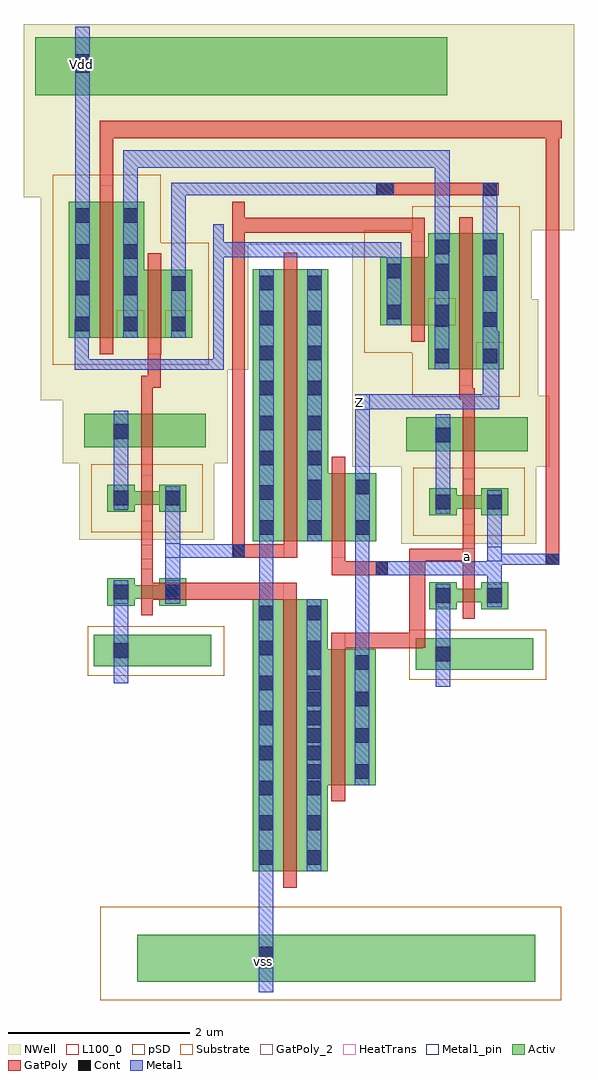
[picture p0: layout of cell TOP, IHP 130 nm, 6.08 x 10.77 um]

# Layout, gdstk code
import gdstk
lib = gdstk.Library(unit=1e-6, precision=5e-09)
def R(c, l, rs):  # rectangles x0, y0, x1, y1
    for r in rs: c.add(gdstk.rectangle(r[:2], r[2:], *l))
def A(c, l, x, y, w, h, nx, ny, dx, dy):  # array of equal rectangles
    R(c, l, [(x+i*dx, y+j*dy, x+i*dx+w, y+j*dy+h) for i in range(nx) for j in range(ny)])
def P(c, l, *ps):  # polygons
    for p in ps: c.add(gdstk.Polygon(p, *l))
Activ = (1, 0)
GatPoly = (5, 0)
GatPoly_2 = (5, 2)
Cont = (6, 0)
Metal1 = (8, 0)
Metal1_pin = (8, 2)
pSD = (14, 0)
NWell = (31, 0)
Substrate = (40, 0)
HeatTrans = (51, 0)
L100_0 = (100, 0)

nmos_1 = lib.new_cell('nmos$1')
R(nmos_1, Activ, [(0,0,0.3,0.3), (0,0,0.83,0.75), (0.53,0,0.83,0.3)])
R(nmos_1, GatPoly, [(0.34,-0.18,0.49,0.93)])
R(nmos_1, GatPoly_2, [(0.34,-0.18,0.49,0.93)])
R(nmos_1, Cont, [(0.07,0.07,0.23,0.23), (0.6,0.07,0.76,0.23), (0.07,0.52,0.23,0.68), (0.6,0.52,0.76,0.68)])
R(nmos_1, Metal1, [(0.07,0,0.23,0.75), (0.6,0,0.76,0.75)])
R(nmos_1, Metal1_pin, [(0.07,0,0.23,0.75), (0.6,0,0.76,0.75)])
R(nmos_1, HeatTrans, [(0.34,-0.18,0.49,0.93)])
nmos_1.add(gdstk.Label('nmos', (0.415,0.375), layer=63, texttype=0))
nmos_1.add(gdstk.Label('nmos', (0.415,0.375), layer=51, texttype=0))

nmos_2 = lib.new_cell('nmos$2')
R(nmos_2, Activ, [(0,0,0.3,0.3), (0,0,0.83,1.5), (0.53,0,0.83,0.3)])
R(nmos_2, GatPoly, [(0.34,-0.18,0.49,1.68)])
R(nmos_2, GatPoly_2, [(0.34,-0.18,0.49,1.68)])
A(nmos_2, Cont, 0.07, 0.07, 0.16, 0.16, 1, 4, 0, 0.4)
A(nmos_2, Cont, 0.6, 0.07, 0.16, 0.16, 1, 4, 0, 0.4)
R(nmos_2, Metal1, [(0.07,0,0.23,1.5), (0.6,0,0.76,1.5)])
R(nmos_2, Metal1_pin, [(0.07,0,0.23,1.5), (0.6,0,0.76,1.5)])
R(nmos_2, HeatTrans, [(0.34,-0.18,0.49,1.68)])
nmos_2.add(gdstk.Label('nmos', (0.415,0.75), layer=63, texttype=0))
nmos_2.add(gdstk.Label('nmos', (0.415,0.75), layer=51, texttype=0))

pmos = lib.new_cell('pmos')
R(pmos, Activ, [(0,0,0.3,0.3), (0.57,0,0.87,0.3), (0,0.075,0.87,0.225)])
R(pmos, GatPoly, [(0.37,-0.105,0.5,0.405), (0.37,-0.105,0.5,0.405)])
R(pmos, Cont, [(0.07,0.07,0.23,0.23), (0.64,0.07,0.8,0.23)])
R(pmos, Metal1, [(0.07,0.02,0.23,0.28), (0.07,0.02,0.23,0.28), (0.64,0.02,0.8,0.28), (0.64,0.02,0.8,0.28)])
R(pmos, pSD, [(-0.18,-0.225,1.05,0.525)])
R(pmos, NWell, [(-0.31,-0.31,1.18,0.61)])
R(pmos, Substrate, [(0.57,0,0.87,0.3)])
R(pmos, HeatTrans, [(0.37,-0.105,0.5,0.405)])
pmos.add(gdstk.Label('pmos', (0.435,0.15), layer=63, texttype=0))
pmos.add(gdstk.Label('pmos', (0.435,0.15), layer=51, texttype=0))

nmos = lib.new_cell('nmos')
R(nmos, Activ, [(0,0,0.3,0.3), (0.57,0,0.87,0.3), (0,0.075,0.87,0.225)])
R(nmos, GatPoly, [(0.37,-0.105,0.5,0.405)])
R(nmos, GatPoly_2, [(0.37,-0.105,0.5,0.405)])
R(nmos, Cont, [(0.07,0.07,0.23,0.23), (0.64,0.07,0.8,0.23)])
R(nmos, Metal1, [(0.07,0.02,0.23,0.28), (0.64,0.02,0.8,0.28)])
R(nmos, Metal1_pin, [(0.07,0.02,0.23,0.28), (0.64,0.02,0.8,0.28)])
R(nmos, HeatTrans, [(0.37,-0.105,0.5,0.405)])
nmos.add(gdstk.Label('nmos', (0.435,0.15), layer=63, texttype=0))
nmos.add(gdstk.Label('nmos', (0.435,0.15), layer=51, texttype=0))

inv_bel = lib.new_cell('inv_bel')
R(inv_bel, Activ, [(0.16,0.06,1.455,0.41), (0.055,2.475,1.395,2.845)])
P(inv_bel, Activ, [(1.385,0.4),(1.385,0.4),(1.39,0.4),(1.39,0.4)])
R(inv_bel, GatPoly, [(0.68,1.135,0.81,1.66)])
R(inv_bel, GatPoly_2, [(0.68,1.24,0.81,1.4)])
R(inv_bel, Cont, [(0.38,0.155,0.54,0.315), (0.38,2.57,0.54,2.73)])
R(inv_bel, Metal1, [(0.38,-0.125,0.54,0.775), (0.95,1.01,1.11,1.785), (0.38,2.045,0.54,2.805), (0.38,2.805,0.54,2.88)])
R(inv_bel, Metal1_pin, [(0.38,0.155,0.54,0.315), (0.95,1.26,1.11,1.42), (0.375,2.565,0.545,2.735)])
R(inv_bel, pSD, [(0.09,-0.045,1.6,0.505)])
R(inv_bel, NWell, [(-0.185,2.3,1.635,3.085)])
R(inv_bel, L100_0, [(0.375,0.15,0.545,0.32), (0.375,0.15,0.545,0.32), (0.375,0.795,0.545,0.965), (0.375,0.795,0.545,0.965), (0.945,0.795,1.115,0.965), (0.945,0.795,1.115,0.965), (0.375,1.83,0.545,2), (0.375,1.83,0.545,2), (0.945,1.83,1.115,2), (0.945,1.83,1.115,2), (0.375,2.565,0.545,2.735), (0.375,2.565,0.545,2.735)])
inv_bel.add(gdstk.Reference(pmos, (0.31,1.765)))
inv_bel.add(gdstk.Reference(nmos, (0.31,0.73)))
inv_bel.add(gdstk.Label('ab', (1.03,1.34), layer=8, texttype=2))
inv_bel.add(gdstk.Label('Vdd', (0.445,2.65), layer=8, texttype=2))
inv_bel.add(gdstk.Label('vss', (0.435,0.205), layer=8, texttype=2))
inv_bel.add(gdstk.Label('a', (0.73,1.305), layer=5, texttype=2))

inversor = lib.new_cell('inversor')
inversor.add(gdstk.Reference(inv_bel, (1.685,-0.595)))

pmos_2 = lib.new_cell('pmos$2')
R(pmos_2, Activ, [(0,0,0.3,0.3), (0,0,0.83,0.75), (0.53,0,0.83,0.3)])
R(pmos_2, GatPoly, [(0.34,-0.18,0.49,0.93), (0.34,-0.18,0.49,0.93)])
R(pmos_2, Cont, [(0.07,0.07,0.23,0.23), (0.6,0.07,0.76,0.23), (0.07,0.52,0.23,0.68), (0.6,0.52,0.76,0.68)])
R(pmos_2, Metal1, [(0.07,0,0.23,0.75), (0.07,0,0.23,0.75), (0.6,0,0.76,0.75), (0.6,0,0.76,0.75)])
R(pmos_2, pSD, [(-0.18,-0.3,1.01,1.05)])
R(pmos_2, NWell, [(-0.31,-0.31,1.14,1.06)])
R(pmos_2, Substrate, [(0.53,0,0.83,0.3)])
R(pmos_2, HeatTrans, [(0.34,-0.18,0.49,0.93)])
pmos_2.add(gdstk.Label('pmos', (0.415,0.375), layer=63, texttype=0))
pmos_2.add(gdstk.Label('pmos', (0.415,0.375), layer=51, texttype=0))

pmos_4 = lib.new_cell('pmos$4')
R(pmos_4, Activ, [(0,0,0.3,0.3), (0,0,0.83,1.5), (0.53,0,0.83,0.3)])
R(pmos_4, GatPoly, [(0.34,-0.18,0.49,1.68), (0.34,-0.18,0.49,1.68)])
A(pmos_4, Cont, 0.07, 0.07, 0.16, 0.16, 1, 4, 0, 0.4)
A(pmos_4, Cont, 0.6, 0.07, 0.16, 0.16, 1, 4, 0, 0.4)
R(pmos_4, Metal1, [(0.07,0,0.23,1.5), (0.07,0,0.23,1.5), (0.6,0,0.76,1.5), (0.6,0,0.76,1.5)])
R(pmos_4, pSD, [(-0.18,-0.3,1.01,1.8)])
R(pmos_4, NWell, [(-0.31,-0.31,1.14,1.81)])
R(pmos_4, Substrate, [(0.53,0,0.83,0.3)])
R(pmos_4, HeatTrans, [(0.34,-0.18,0.49,1.68)])
pmos_4.add(gdstk.Label('pmos', (0.415,0.75), layer=63, texttype=0))
pmos_4.add(gdstk.Label('pmos', (0.415,0.75), layer=51, texttype=0))

pmos_5 = lib.new_cell('pmos$5')
R(pmos_5, Activ, [(0,0,0.3,0.3), (0.57,0,0.87,0.3), (0,0.075,0.87,0.225)])
R(pmos_5, GatPoly, [(0.37,-0.105,0.5,0.405), (0.37,-0.105,0.5,0.405)])
R(pmos_5, Cont, [(0.07,0.07,0.23,0.23), (0.64,0.07,0.8,0.23)])
R(pmos_5, Metal1, [(0.07,0.02,0.23,0.28), (0.07,0.02,0.23,0.28), (0.64,0.02,0.8,0.28), (0.64,0.02,0.8,0.28)])
R(pmos_5, pSD, [(-0.18,-0.225,1.05,0.525)])
R(pmos_5, NWell, [(-0.31,-0.31,1.18,0.61)])
R(pmos_5, Substrate, [(0.57,0,0.87,0.3)])
R(pmos_5, HeatTrans, [(0.37,-0.105,0.5,0.405)])
pmos_5.add(gdstk.Label('pmos', (0.435,0.15), layer=63, texttype=0))
pmos_5.add(gdstk.Label('pmos', (0.435,0.15), layer=51, texttype=0))

nmos_4 = lib.new_cell('nmos$4')
R(nmos_4, Activ, [(0,0,0.3,0.3), (0.57,0,0.87,0.3), (0,0.075,0.87,0.225)])
R(nmos_4, GatPoly, [(0.37,-0.105,0.5,0.405)])
R(nmos_4, GatPoly_2, [(0.37,-0.105,0.5,0.405)])
R(nmos_4, Cont, [(0.07,0.07,0.23,0.23), (0.64,0.07,0.8,0.23)])
R(nmos_4, Metal1, [(0.07,0.02,0.23,0.28), (0.64,0.02,0.8,0.28)])
R(nmos_4, Metal1_pin, [(0.07,0.02,0.23,0.28), (0.64,0.02,0.8,0.28)])
R(nmos_4, HeatTrans, [(0.37,-0.105,0.5,0.405)])
nmos_4.add(gdstk.Label('nmos', (0.435,0.15), layer=63, texttype=0))
nmos_4.add(gdstk.Label('nmos', (0.435,0.15), layer=51, texttype=0))

inv_bel_1 = lib.new_cell('inv_bel$1')
R(inv_bel_1, Activ, [(0.16,0.06,1.455,0.41), (0.055,2.475,1.395,2.845)])
P(inv_bel_1, Activ, [(1.385,0.4),(1.385,0.4),(1.39,0.4),(1.39,0.4)])
R(inv_bel_1, GatPoly, [(0.68,1.135,0.81,1.66)])
R(inv_bel_1, GatPoly_2, [(0.68,1.24,0.81,1.4)])
R(inv_bel_1, Cont, [(0.38,0.155,0.54,0.315), (0.38,2.57,0.54,2.73)])
R(inv_bel_1, Metal1, [(0.38,-0.125,0.54,0.775), (0.95,1.01,1.11,1.785), (0.38,2.045,0.54,2.805), (0.38,2.805,0.54,2.88)])
R(inv_bel_1, Metal1_pin, [(0.38,0.155,0.54,0.315), (0.95,1.26,1.11,1.42), (0.38,2.565,0.545,2.73)])
R(inv_bel_1, pSD, [(0.09,-0.045,1.6,0.505)])
R(inv_bel_1, NWell, [(-0.185,2.3,1.635,3.085)])
R(inv_bel_1, L100_0, [(0.375,0.15,0.545,0.32), (0.375,0.15,0.545,0.32), (0.375,0.795,0.545,0.965), (0.375,0.795,0.545,0.965), (0.945,0.795,1.115,0.965), (0.945,0.795,1.115,0.965), (0.375,1.83,0.545,2), (0.375,1.83,0.545,2), (0.945,1.83,1.115,2), (0.945,1.83,1.115,2), (0.375,2.565,0.545,2.735), (0.375,2.565,0.545,2.735)])
inv_bel_1.add(gdstk.Reference(pmos_5, (0.31,1.765)))
inv_bel_1.add(gdstk.Reference(nmos_4, (0.31,0.73)))
inv_bel_1.add(gdstk.Label('bb', (1,1.315), layer=8, texttype=2))
inv_bel_1.add(gdstk.Label('Vdd', (0.445,2.645), layer=8, texttype=2))
inv_bel_1.add(gdstk.Label('vss', (0.435,0.205), layer=8, texttype=2))
inv_bel_1.add(gdstk.Label('b', (0.735,1.315), layer=5, texttype=2))

inversor_1 = lib.new_cell('inversor$1')
inversor_1.add(gdstk.Reference(inv_bel_1, (1.685,-0.595)))

nmos_3 = lib.new_cell('nmos$3')
R(nmos_3, Activ, [(0,0,0.3,0.3), (0,0,0.83,3), (0.53,0,0.83,0.3)])
R(nmos_3, GatPoly, [(0.34,-0.18,0.49,3.18)])
R(nmos_3, GatPoly_2, [(0.34,-0.18,0.49,3.18)])
A(nmos_3, Cont, 0.07, 0.07, 0.16, 0.16, 1, 7, 0, 0.385)
A(nmos_3, Cont, 0.6, 0.07, 0.16, 0.16, 1, 7, 0, 0.385)
R(nmos_3, Cont, [(0.07,2.77,0.23,2.93), (0.6,2.77,0.76,2.93)])
R(nmos_3, Metal1, [(0.07,0,0.23,3), (0.6,0,0.76,3)])
R(nmos_3, Metal1_pin, [(0.07,0,0.23,3), (0.6,0,0.76,3)])
R(nmos_3, HeatTrans, [(0.34,-0.18,0.49,3.18)])
nmos_3.add(gdstk.Label('nmos', (0.415,1.5), layer=63, texttype=0))
nmos_3.add(gdstk.Label('nmos', (0.415,1.5), layer=51, texttype=0))

top = lib.new_cell('TOP')
R(top, Activ, [(1.255,-0.975,5.645,-0.455), (0.13,8.805,4.675,9.445)])
R(top, GatPoly, [(3.395,2.705,4.255,2.875), (4.255,2.705,4.405,2.875), (4.255,2.71,4.43,3.8), (1.295,3.24,3.015,3.425), (3.4,3.51,3.55,3.835), (3.405,3.51,4.015,3.665), (5.76,3.625,5.91,8.525), (4.295,3.67,4.975,3.8), (2.3,3.705,3.02,3.85), (2.3,3.705,2.44,7.63), (1.295,4.36,1.425,5.71), (4.845,4.525,4.975,5.575), (4.805,5.45,4.975,5.575), (4.805,5.5,4.955,5.97), (1.295,5.58,1.51,5.71), (1.37,5.58,1.51,6.195), (4.275,7.095,4.425,7.455), (2.3,7.29,4.425,7.455), (0.84,7.645,0.99,8.525), (3.89,7.7,5.24,7.84), (0.84,8.33,5.935,8.525)])
R(top, Cont, [(2.595,-0.825,2.755,-0.585), (3.885,3.51,4.015,3.665), (5.76,3.625,5.91,3.745), (2.305,3.705,2.44,3.85), (5.065,7.695,5.225,7.84), (3.89,7.7,4.08,7.84), (0.57,9.05,0.73,9.255)])
R(top, Metal1, [(2.595,-1.09,2.755,0.395), (3.66,2.465,3.815,2.85), (2.6,2.775,2.755,4.325), (3.66,2.85,3.815,4.26), (3.885,3.51,5.275,3.665), (5.115,3.625,5.91,3.745), (1.565,3.705,2.44,3.85), (3.66,4.35,3.82,5.505), (3.66,5.34,5.245,5.505), (5.065,5.34,5.245,6.2), (0.565,5.775,2.205,5.89), (0.565,5.775,0.72,6.335), (2.09,5.775,2.205,7.38), (1.63,6.73,1.79,7.84), (2.09,7.02,4.165,7.185), (4.535,7.075,4.7,8.195), (5.065,7.165,5.225,7.84), (1.1,7.39,1.26,8.195), (0.57,7.395,0.73,9.56), (1.63,7.7,4.08,7.84), (1.1,8.005,4.7,8.195)])
R(top, Metal1_pin, [(2.595,-0.82,2.755,-0.585), (3.66,5.335,3.82,5.505), (0.57,9.05,0.73,9.255)])
R(top, pSD, [(0.845,-1.175,5.93,-0.145)])
R(top, NWell, [(3.625,4.705,4.275,4.95), (3.625,4.95,3.98,5.59), (3.895,5.295,4.095,5.65), (3.99,5.385,5.675,5.8), (0.19,5.44,2.25,5.88), (3.625,5.59,5.675,6.555), (1.625,5.775,2.48,7.155), (1.63,7.155,2.655,7.7), (2.655,7.155,5.38,8.06), (5.38,7.315,6.075,7.68), (0,7.68,6.075,9.59)])
top.add(gdstk.Reference(nmos_1, (3.06,3.885)))
top.add(gdstk.Reference(nmos_2, (3.055,1.195)))
top.add(gdstk.Reference(inversor, (2.48,3)))
top.add(gdstk.Reference(pmos_2, (1.03,6.13)))
top.add(gdstk.Reference(pmos_4, (0.5,6.13)))
top.add(gdstk.Reference(pmos_2, (3.935,6.265)))
top.add(gdstk.Reference(inversor_1, (-1.07,3.04)))
top.add(gdstk.Reference(nmos_3, (2.53,3.885)))
top.add(gdstk.Reference(nmos_3, (2.525,0.245)))
top.add(gdstk.Reference(pmos_4, (4.465,5.78)))
top.add(gdstk.Label('Z', (3.705,5.41), layer=8, texttype=2))
top.add(gdstk.Label('vss', (2.65,-0.75), layer=8, texttype=2))
top.add(gdstk.Label('Vdd', (0.64,9.14), layer=8, texttype=2))
top.add(gdstk.Label('a', (4.895,3.715), layer=5, texttype=2))

lib.write_gds('TOP.gds')
